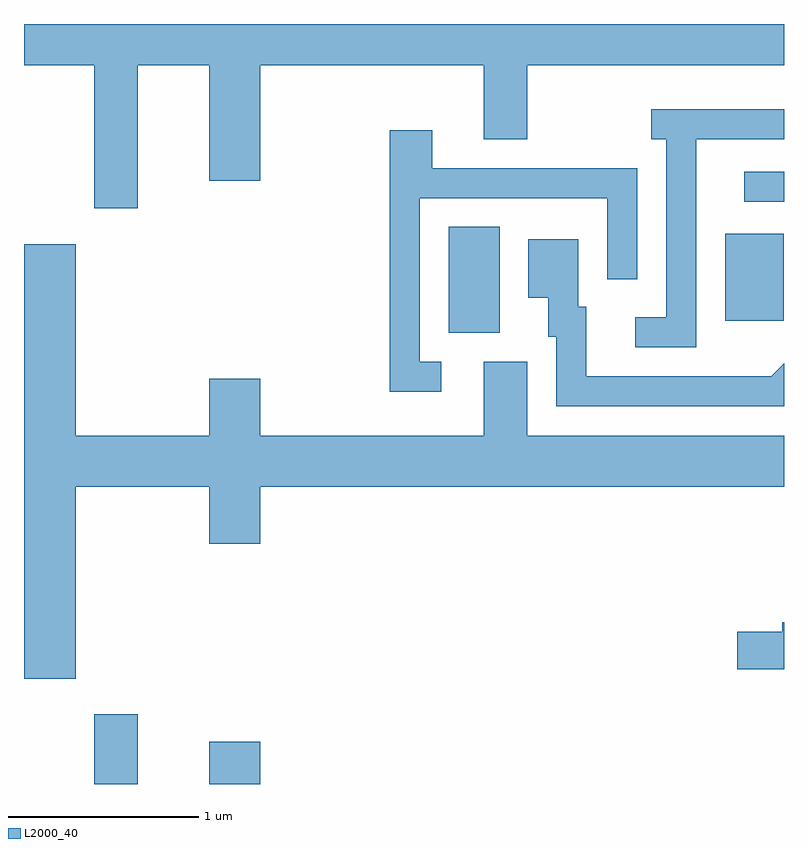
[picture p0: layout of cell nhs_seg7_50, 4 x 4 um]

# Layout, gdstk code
import gdstk
lib = gdstk.Library(unit=1e-6, precision=1e-09)
def R(c, l, rs):  # rectangles x0, y0, x1, y1
    for r in rs: c.add(gdstk.rectangle(r[:2], r[2:], *l))
def P(c, l, *ps):  # polygons
    for p in ps: c.add(gdstk.Polygon(p, *l))
L2000_40 = (2000, 40)

nhs_seg7_50 = lib.new_cell('nhs_seg7_50')
R(nhs_seg7_50, L2000_40, [(185.981,1768.252,186.209,1768.619), (186.586,1768.252,186.854,1768.474), (187.846,1770.626,188.114,1771.184), (189.301,1770.691,189.609,1771.149), (189.403,1771.316,189.611,1771.474)])
P(nhs_seg7_50, L2000_40, [(186.209,1772.036),(186.586,1772.036),(186.586,1771.426),(186.854,1771.426),(186.854,1772.036),(188.031,1772.036),(188.031,1771.646),(188.259,1771.646),(188.259,1772.036),(189.611,1772.036),(189.611,1772.252),(185.611,1772.252),(185.611,1772.036),(185.981,1772.036),(185.981,1771.281),(186.209,1771.281)],
  [(189.149,1771.646),(189.611,1771.646),(189.611,1771.804),(188.913,1771.804),(188.913,1771.646),(188.991,1771.646),(188.991,1770.709),(188.828,1770.709),(188.828,1770.551),(189.149,1770.551)],
  [(187.808,1770.474),(187.694,1770.474),(187.694,1771.336),(188.681,1771.336),(188.681,1770.908),(188.839,1770.908),(188.839,1771.494),(187.759,1771.494),(187.759,1771.694),(187.536,1771.694),(187.536,1770.316),(187.808,1770.316)],
  [(189.611,1770.466),(189.544,1770.399),(188.569,1770.399),(188.569,1770.764),(188.529,1770.764),(188.529,1771.119),(188.266,1771.119),(188.266,1770.811),(188.371,1770.811),(188.371,1770.606),(188.411,1770.606),(188.411,1770.241),(189.611,1770.241)],
  [(185.884,1769.816),(186.586,1769.816),(186.586,1769.516),(186.854,1769.516),(186.854,1769.816),(189.611,1769.816),(189.611,1770.084),(188.259,1770.084),(188.259,1770.474),(188.031,1770.474),(188.031,1770.084),(186.854,1770.084),(186.854,1770.384),(186.586,1770.384),(186.586,1770.084),(185.884,1770.084),(185.884,1771.094),(185.611,1771.094),(185.611,1768.806),(185.884,1768.806)],
  [(189.611,1769.104),(189.601,1769.104),(189.601,1769.054),(189.366,1769.054),(189.366,1768.856),(189.611,1768.856)])

lib.write_gds('nhs_seg7_50.gds')
